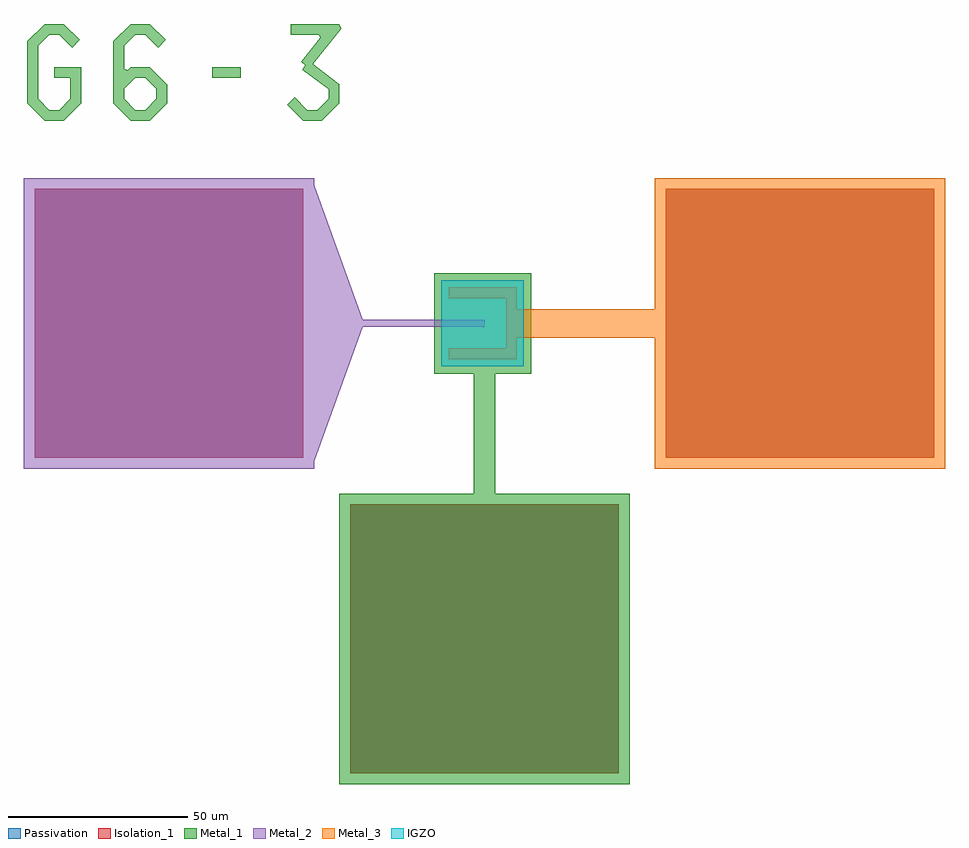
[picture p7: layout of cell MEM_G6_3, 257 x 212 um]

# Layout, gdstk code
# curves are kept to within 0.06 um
import gdstk
lib = gdstk.Library(unit=1e-6, precision=1e-09)
def R(c, l, rs):  # rectangles x0, y0, x1, y1
    for r in rs: c.add(gdstk.rectangle(r[:2], r[2:], *l))
def P(c, l, *ps):  # polygons
    for p in ps: c.add(gdstk.Polygon(p, *l))
Metal_1 = (1, 0)
Isolation_1 = (2, 0)
Metal_2 = (3, 0)
IGZO = (4, 0)
Metal_3 = (5, 0)
Passivation = (6, 0)

mem_g6_3 = lib.new_cell('MEM_G6_3')
R(mem_g6_3, Metal_1, [(87.5,-0.5,168.5,80.5), (52,196.5,60,199.5)])
P(mem_g6_3, Metal_1, [(29.378,184.5),(24.5,189.378),(24.5,196.5),(30.622,196.5),(27.5,193.378),(27.5,190.622),(30.622,187.5),(33.378,187.5),(36.5,190.622),(36.5,193.378),(33.378,196.5),(24.5,196.5),(24.5,206.622),(29.378,211.5),(34.622,211.5),(39.061,207.061),(36.939,204.939),(33.378,208.5),(30.622,208.5),(27.5,205.378),(27.5,199.036),(28.5,198.622),(29.378,199.5),(34.622,199.5),(39.5,194.622),(39.5,189.378),(34.622,184.5)],
  [(77.378,184.5),(72.939,188.939),(75.061,191.061),(78.622,187.5),(81.378,187.5),(84.5,190.622),(84.5,193.25),(77.1,198.8),(77.999,200),(76.83,200.937),(82.204,207.656),(81.798,208.5),(74,208.5),(74,211.5),(87.5,211.5),(88.108,210.234),(80.158,200.297),(87.5,194.75),(87.5,189.378),(82.622,184.5)],
  [(5.378,184.5),(0.5,189.378),(0.5,206.622),(5.378,211.5),(10.622,211.5),(15.061,207.061),(12.939,204.939),(9.378,208.5),(6.622,208.5),(3.5,205.378),(3.5,190.622),(6.622,187.5),(9.378,187.5),(12.5,190.622),(12.5,196.5),(8,196.5),(8,199.5),(15.5,199.5),(15.5,189.378),(10.622,184.5)],
  [(88,0),(88,80),(125,80),(125,114),(114,114),(114,142),(141,142),(141,114),(131,114),(131,80),(168,80),(168,0)])
R(mem_g6_3, Isolation_1, [(90.5,2.5,165.5,77.5), (2.5,90.5,77.5,165.5), (178.5,90.5,253.5,165.5)])
R(mem_g6_3, Metal_2, [(-0.5,87.5,80.5,168.5), (0,88,80,168)])
P(mem_g6_3, Metal_2, [(80,88),(80,168),(94,129),(128,129),(128,127),(94,127)])
R(mem_g6_3, IGZO, [(116,116,139,140)])
R(mem_g6_3, Metal_3, [(175.5,87.5,256.5,168.5)])
P(mem_g6_3, Metal_3, [(176,88),(176,124),(137,124),(137,118),(118,118),(118,121),(134,121),(134,135),(118,135),(118,138),(137,138),(137,132),(176,132),(176,168),(256,168),(256,88)])
R(mem_g6_3, Passivation, [(90.5,2.5,165.5,77.5), (2.5,90.5,77.5,165.5), (178.5,90.5,253.5,165.5)])

lib.write_gds('MEM_G6_3.gds')
